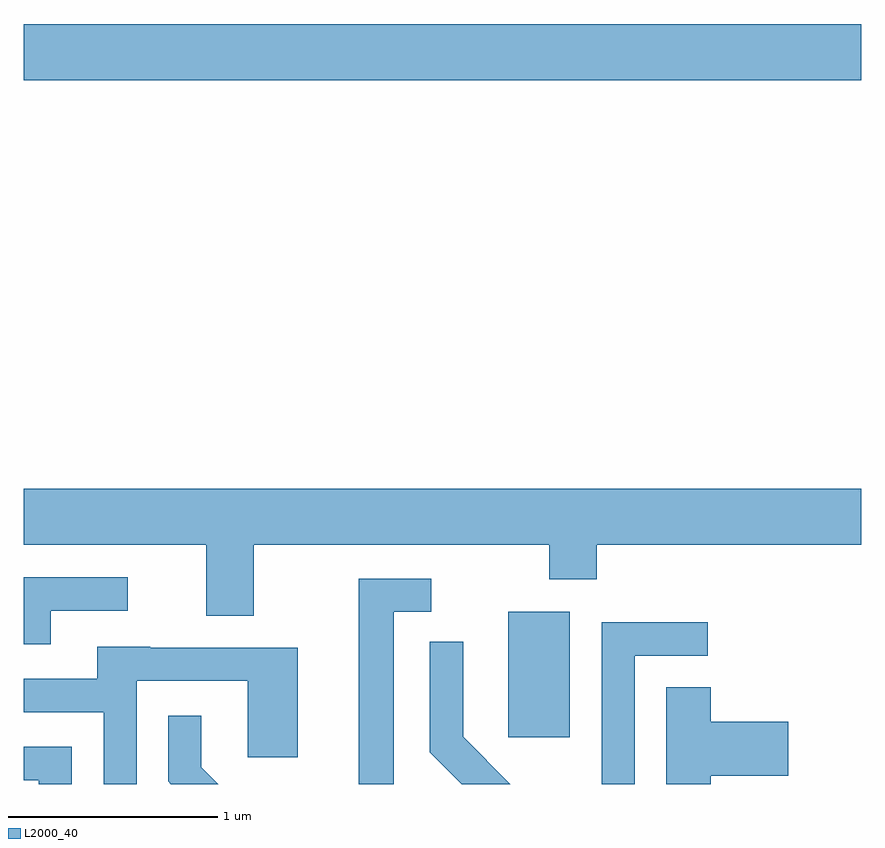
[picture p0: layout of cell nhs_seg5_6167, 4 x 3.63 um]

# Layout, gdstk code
import gdstk
lib = gdstk.Library(unit=1e-6, precision=1e-09)
def R(c, l, rs):  # rectangles x0, y0, x1, y1
    for r in rs: c.add(gdstk.rectangle(r[:2], r[2:], *l))
def P(c, l, *ps):  # polygons
    for p in ps: c.add(gdstk.Polygon(p, *l))
L2000_40 = (2000, 40)

nhs_seg5_6167 = lib.new_cell('nhs_seg5_6167')
R(nhs_seg5_6167, L2000_40, [(369.926,1480.296,370.219,1480.894), (367.611,1483.436,371.611,1483.704)])
P(nhs_seg5_6167, L2000_40, [(368.709,1481.216),(370.121,1481.216),(370.121,1481.051),(370.349,1481.051),(370.349,1481.216),(371.611,1481.216),(371.611,1481.484),(367.611,1481.484),(367.611,1481.216),(368.481,1481.216),(368.481,1480.876),(368.709,1480.876)],
  [(367.739,1480.901),(368.108,1480.901),(368.108,1481.059),(367.611,1481.059),(367.611,1480.741),(367.739,1480.741)],
  [(369.379,1480.896),(369.558,1480.896),(369.558,1481.054),(369.211,1481.054),(369.211,1480.072),(369.379,1480.072)],
  [(370.529,1480.686),(370.878,1480.686),(370.878,1480.844),(370.371,1480.844),(370.371,1480.072),(370.529,1480.072)],
  [(369.709,1480.297),(369.709,1480.753),(369.551,1480.753),(369.551,1480.224),(369.703,1480.072),(369.934,1480.072)],
  [(368.149,1480.566),(368.681,1480.566),(368.681,1480.201),(368.919,1480.201),(368.919,1480.724),(368.215,1480.724),(368.215,1480.729),(367.961,1480.729),(367.961,1480.574),(367.611,1480.574),(367.611,1480.416),(367.991,1480.416),(367.991,1480.072),(368.149,1480.072)],
  [(370.894,1480.111),(371.264,1480.111),(371.264,1480.369),(370.894,1480.369),(370.894,1480.534),(370.681,1480.534),(370.681,1480.072),(370.894,1480.072)],
  [(368.459,1480.152),(368.459,1480.398),(368.301,1480.398),(368.301,1480.084),(368.313,1480.072),(368.539,1480.072)],
  [(367.839,1480.249),(367.611,1480.249),(367.611,1480.091),(367.681,1480.091),(367.681,1480.072),(367.839,1480.072)])

lib.write_gds('nhs_seg5_6167.gds')
